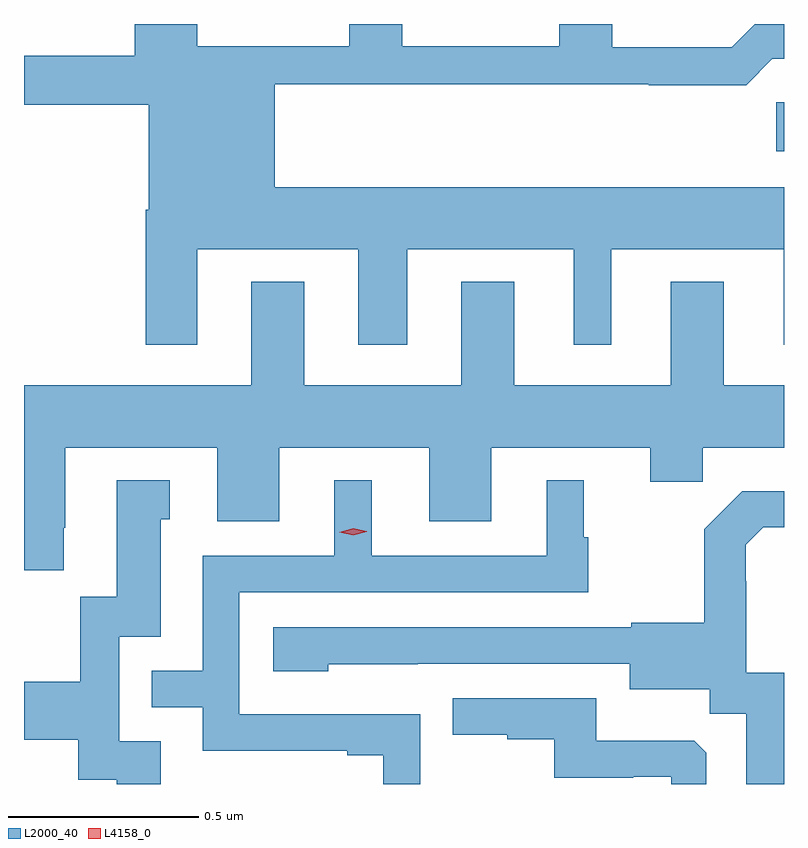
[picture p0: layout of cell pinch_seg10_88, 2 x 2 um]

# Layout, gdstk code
import gdstk
lib = gdstk.Library(unit=1e-6, precision=1e-09)
def R(c, l, rs):  # rectangles x0, y0, x1, y1
    for r in rs: c.add(gdstk.rectangle(r[:2], r[2:], *l))
def P(c, l, *ps):  # polygons
    for p in ps: c.add(gdstk.Polygon(p, *l))
L2000_40 = (2000, 40)
L4158_0 = (4158, 0)

pinch_seg10_88 = lib.new_cell('pinch_seg10_88')
R(pinch_seg10_88, L2000_40, [(742.698,1322.408,742.719,1322.537)])
P(pinch_seg10_88, L2000_40, [(741.175,1322.15),(741.599,1322.15),(741.599,1321.899),(741.727,1321.899),(741.727,1322.15),(742.166,1322.15),(742.166,1321.899),(742.264,1321.899),(742.264,1322.15),(742.718,1322.15),(742.718,1321.899),(742.719,1321.899),(742.719,1322.314),(741.379,1322.314),(741.379,1322.584),(742.363,1322.584),(742.363,1322.582),(742.619,1322.582),(742.688,1322.651),(742.719,1322.651),(742.719,1322.743),(742.642,1322.743),(742.581,1322.682),(742.267,1322.682),(742.267,1322.743),(742.127,1322.743),(742.127,1322.685),(741.715,1322.685),(741.715,1322.743),(741.575,1322.743),(741.575,1322.685),(741.175,1322.685),(741.175,1322.743),(741.011,1322.743),(741.011,1322.659),(740.719,1322.659),(740.719,1322.53),(741.047,1322.53),(741.047,1322.254),(741.04,1322.254),(741.04,1321.899),(741.175,1321.899)],
  [(740.824,1321.417),(740.827,1321.417),(740.827,1321.628),(741.227,1321.628),(741.227,1321.434),(741.391,1321.434),(741.391,1321.628),(741.785,1321.628),(741.785,1321.434),(741.949,1321.434),(741.949,1321.628),(742.367,1321.628),(742.367,1321.538),(742.505,1321.538),(742.505,1321.628),(742.719,1321.628),(742.719,1321.792),(742.561,1321.792),(742.561,1322.065),(742.421,1322.065),(742.421,1321.792),(742.009,1321.792),(742.009,1322.065),(741.869,1322.065),(741.869,1321.792),(741.457,1321.792),(741.457,1322.065),(741.317,1322.065),(741.317,1321.792),(740.719,1321.792),(740.719,1321.305),(740.824,1321.305)],
  [(741.079,1320.855),(740.97,1320.855),(740.97,1321.131),(741.079,1321.131),(741.079,1321.44),(741.103,1321.44),(741.103,1321.543),(740.963,1321.543),(740.963,1321.236),(740.867,1321.236),(740.867,1321.012),(740.719,1321.012),(740.719,1320.86),(740.862,1320.86),(740.862,1320.754),(740.963,1320.754),(740.963,1320.743),(741.079,1320.743)],
  [(741.762,1320.927),(741.285,1320.927),(741.285,1321.248),(742.204,1321.248),(742.204,1321.392),(742.192,1321.392),(742.192,1321.543),(742.094,1321.543),(742.094,1321.344),(741.634,1321.344),(741.634,1321.543),(741.536,1321.543),(741.536,1321.344),(741.189,1321.344),(741.189,1321.041),(741.055,1321.041),(741.055,1320.945),(741.189,1320.945),(741.189,1320.831),(741.569,1320.831),(741.569,1320.819),(741.664,1320.819),(741.664,1320.743),(741.762,1320.743)],
  [(742.719,1321.036),(742.62,1321.036),(742.62,1321.277),(742.618,1321.277),(742.618,1321.372),(742.665,1321.419),(742.719,1321.419),(742.719,1321.513),(742.609,1321.513),(742.509,1321.413),(742.509,1321.168),(742.317,1321.168),(742.317,1321.155),(741.375,1321.155),(741.375,1321.04),(741.519,1321.04),(741.519,1321.058),(741.755,1321.058),(741.755,1321.059),(742.313,1321.059),(742.313,1320.992),(742.524,1320.992),(742.524,1320.928),(742.619,1320.928),(742.619,1320.743),(742.719,1320.743)],
  [(742.515,1320.825),(742.483,1320.857),(742.225,1320.857),(742.225,1320.969),(741.847,1320.969),(741.847,1320.872),(741.991,1320.872),(741.991,1320.861),(742.115,1320.861),(742.115,1320.759),(742.322,1320.759),(742.322,1320.762),(742.422,1320.762),(742.422,1320.743),(742.515,1320.743)])
P(pinch_seg10_88, L4158_0, [(741.585,1321.397),(741.549,1321.405),(741.549,1321.406),(741.549,1321.406),(741.585,1321.416),(741.621,1321.408),(741.621,1321.407),(741.621,1321.407)])

lib.write_gds('pinch_seg10_88.gds')
